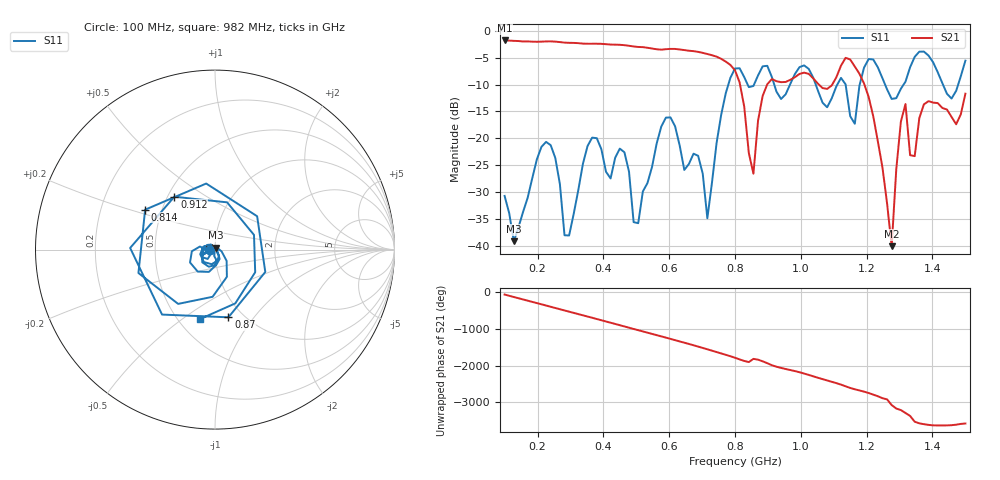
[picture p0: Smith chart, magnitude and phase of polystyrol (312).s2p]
! NanoVNA-App
! Date: 2025-09-25 15:32:19
! Start: 100MHz Stop: 1,5GHz Points: 101
! S-Parameter data: F S11 S21 S12 S22
# Hz S RI R 50
!  Frequency  S11_Real  S11_Imag  S21_Real  S21_Imag  S12_Real  S12_Imag  S22_Real  S22_Imag
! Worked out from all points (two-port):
!   101 points, 100 MHz to 1.5 GHz, reference 50 ohm
!   highest |S21| = -1.80 dB at 100 MHz (marker M1); lowest = -40.0 dB at 1.276 GHz (marker M2)
!   |S21| within 3 dB of the highest: start of sweep to 743.5 MHz
!   lowest |S11| = -39.1 dB at 128 MHz (marker M3), VSWR 1.02, Z = 50.3 + j1.06 ohm
!   |S11| at or under -10 dB: start of sweep to 779.8 MHz; 1.045 GHz to 1.111 GHz (65.5 MHz wide, 6.08 % of centre); 1.256 GHz to 1.312 GHz (56.27 MHz wide, 4.38 % of centre) (the widest 3 of 7)
!   S12 and S22 are empty: the file has one direction only
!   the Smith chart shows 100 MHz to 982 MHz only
!   S11 on the Smith chart (normalised r, x): 100 MHz: 0.94, -0.01; 814 MHz: 0.40, +0.22; 870 MHz: 0.85, -0.76; 912 MHz: 0.54, +0.37; 982 MHz: 0.64, -0.58
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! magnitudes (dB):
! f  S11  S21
! 100 MHz  -30.7  -1.8
! 128 MHz  -39.1  -1.9
! 212 MHz  -21.6  -2.0
! 282 MHz  -38.0  -2.2
! 338 MHz  -24.7  -2.4
! 464 MHz  -22.6  -2.7
! 506 MHz  -35.8  -3.0
! 576 MHz  -17.8  -3.5
! 716 MHz  -34.9  -4.3
! 800 MHz  -7.0  -7.4
! 814 MHz  -7.0  -9.6
! 856 MHz  -10.3  -26.6
! 870 MHz  -8.3  -16.7
! 912 MHz  -8.6  -9.0
! 982 MHz  -8.0  -8.6
! 1.038 GHz  -8.7  -8.9
! 1.164 GHz  -17.3  -6.6
! 1.192 GHz  -6.9  -9.8
! 1.276 GHz  -12.7  -40.0
! 1.318 GHz  -9.5  -13.6
! 1.346 GHz  -4.8  -23.3
! 1.5 GHz  -5.6  -11.7
